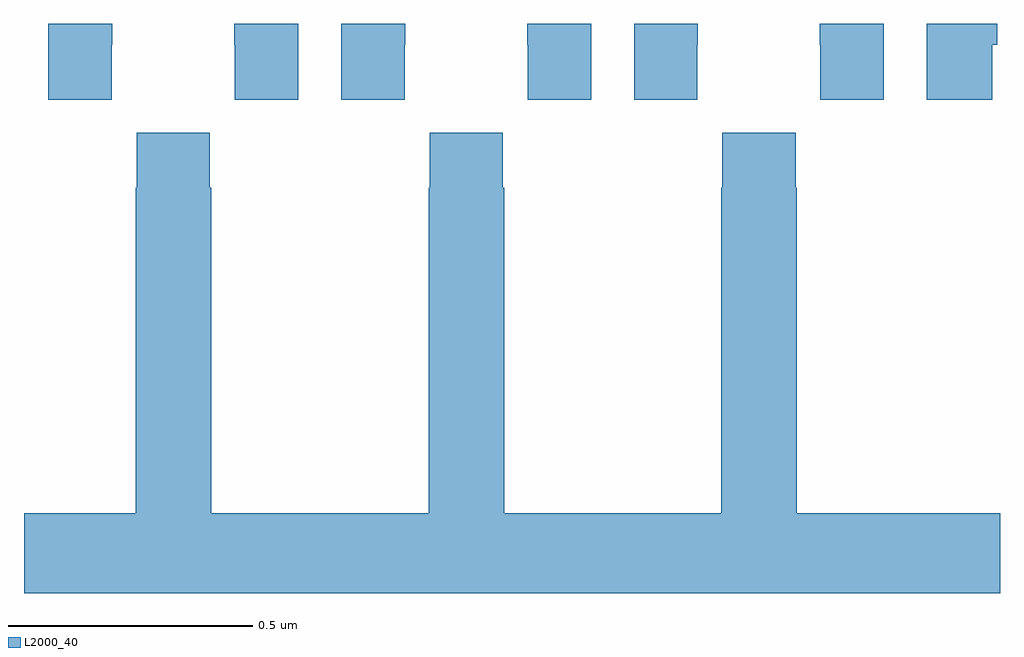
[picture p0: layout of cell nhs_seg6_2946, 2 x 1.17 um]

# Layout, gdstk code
import gdstk
lib = gdstk.Library(unit=1e-6, precision=1e-09)
def P(c, l, *ps):  # polygons
    for p in ps: c.add(gdstk.Polygon(p, *l))
L2000_40 = (2000, 40)

nhs_seg6_2946 = lib.new_cell('nhs_seg6_2946')
P(nhs_seg6_2946, L2000_40, [(150.18,952.456),(150.181,952.456),(150.181,952.5),(150.05,952.5),(150.05,952.344),(150.18,952.344)],
  [(150.562,952.5),(150.431,952.5),(150.431,952.456),(150.432,952.456),(150.432,952.344),(150.562,952.344)],
  [(150.78,952.456),(150.781,952.456),(150.781,952.5),(150.65,952.5),(150.65,952.344),(150.78,952.344)],
  [(151.162,952.5),(151.031,952.5),(151.031,952.456),(151.032,952.456),(151.032,952.344),(151.162,952.344)],
  [(151.38,952.456),(151.381,952.456),(151.381,952.5),(151.25,952.5),(151.25,952.344),(151.38,952.344)],
  [(151.762,952.5),(151.631,952.5),(151.631,952.456),(151.632,952.456),(151.632,952.344),(151.762,952.344)],
  [(151.984,952.456),(151.994,952.456),(151.994,952.5),(151.85,952.5),(151.85,952.344),(151.984,952.344)],
  [(152,951.496),(151.584,951.496),(151.584,952.163),(151.581,952.163),(151.581,952.276),(151.431,952.276),(151.431,952.163),(151.429,952.163),(151.429,951.496),(150.984,951.496),(150.984,952.163),(150.981,952.163),(150.981,952.276),(150.831,952.276),(150.831,952.163),(150.829,952.163),(150.829,951.496),(150.384,951.496),(150.384,952.163),(150.381,952.163),(150.381,952.276),(150.231,952.276),(150.231,952.163),(150.229,952.163),(150.229,951.496),(150,951.496),(150,951.332),(152,951.332)])

lib.write_gds('nhs_seg6_2946.gds')
